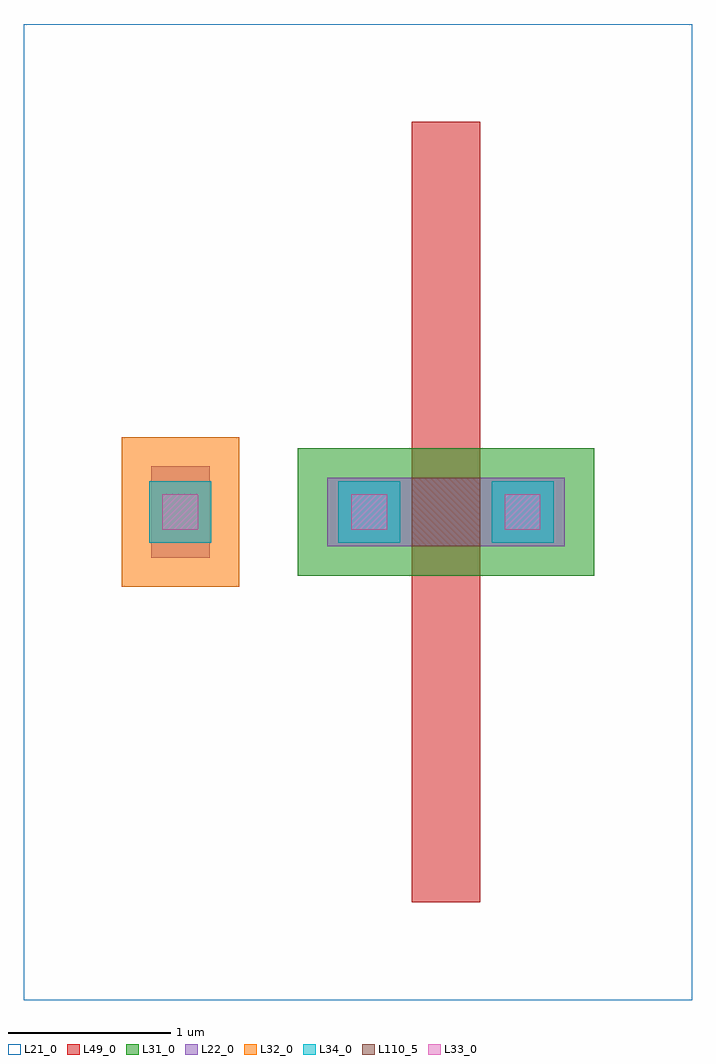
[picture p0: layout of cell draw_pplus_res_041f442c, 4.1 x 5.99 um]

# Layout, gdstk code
import gdstk
lib = gdstk.Library(unit=1e-6, precision=1e-09)
def R(c, l, rs):  # rectangles x0, y0, x1, y1
    for r in rs: c.add(gdstk.rectangle(r[:2], r[2:], *l))
L21_0 = (21, 0)
L22_0 = (22, 0)
L31_0 = (31, 0)
L32_0 = (32, 0)
L33_0 = (33, 0)
L34_0 = (34, 0)
L49_0 = (49, 0)
L110_5 = (110, 5)

draw_pplus_res_041f442c = lib.new_cell('draw_pplus_res_041f442c')
R(draw_pplus_res_041f442c, L21_0, [(-2.38,-2.785,1.72,3.205)])
R(draw_pplus_res_041f442c, L22_0, [(-1.6,-0.07,-1.24,0.49), (-0.52,0,0.94,0.42)])
R(draw_pplus_res_041f442c, L31_0, [(-0.7,-0.18,1.12,0.6)])
R(draw_pplus_res_041f442c, L32_0, [(-1.78,-0.25,-1.06,0.67)])
R(draw_pplus_res_041f442c, L33_0, [(-1.53,0.1,-1.31,0.32), (-0.37,0.1,-0.15,0.32), (0.57,0.1,0.79,0.32)])
R(draw_pplus_res_041f442c, L34_0, [(-1.61,0.02,-1.23,0.4), (-0.45,0.02,-0.07,0.4), (0.49,0.02,0.87,0.4)])
R(draw_pplus_res_041f442c, L49_0, [(0,-2.185,0.42,2.605)])
R(draw_pplus_res_041f442c, L110_5, [(0,0,0.42,0.42)])

lib.write_gds('draw_pplus_res_041f442c.gds')
